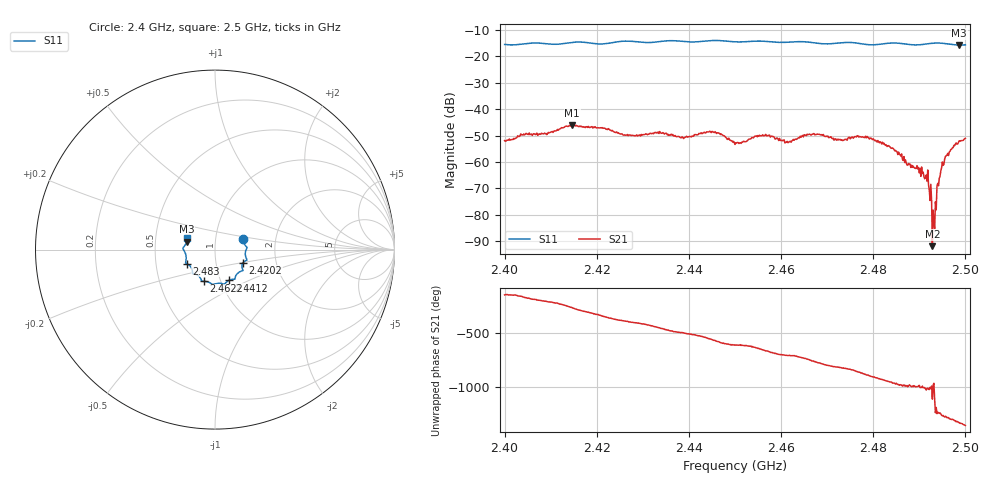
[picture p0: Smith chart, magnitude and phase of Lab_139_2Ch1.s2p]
# Hz S RI R 50
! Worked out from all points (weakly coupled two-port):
!   601 points, 2.4 GHz to 2.5 GHz, reference 50 ohm
!   highest |S21| = -46.00 dB at 2.4147 GHz (marker M1); lowest = -91.9 dB at 2.4928 GHz (marker M2)
!   lowest |S11| = -15.7 dB at 2.4987 GHz (marker M3), VSWR 1.39, Z = 36.3 + j3.29 ohm
!   |S11| at or under -10 dB: start of sweep to end of sweep
!   S12 and S22 are empty: the file has one direction only
!   S11 on the Smith chart (normalised r, x): 2.4 GHz: 1.36, +0.17; 2.4202 GHz: 1.35, -0.20; 2.4412 GHz: 1.09, -0.39; 2.4622 GHz: 0.83, -0.30; 2.483 GHz: 0.72, -0.12; 2.5 GHz: 0.73, +0.09
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2.4e9  0.1573 0.0602  -0.00223 -0.00123  0 0  0 0
2.414667e9  0.1764 -0.0529  1.31e-05 0.00501  0 0  0 0
2.416667e9  0.1771 -0.0588  0.00214 0.00424  0 0  0 0
2.420167e9  0.1567 -0.0725  0.00394 0.00204  0 0  0 0
2.433333e9  0.1133 -0.1517  -0.000157 -0.00371  0 0  0 0
2.441167e9  0.0759 -0.1721  -0.00309 -0.00118  0 0  0 0
2.4455e9  0.0524 -0.1934  -0.00309 0.00186  0 0  0 0
2.45e9  0.0267 -0.1871  -0.000496 0.00209  0 0  0 0
2.456167e9  -0.0152 -0.1933  0.0016 0.00269  0 0  0 0
2.462167e9  -0.0625 -0.1766  0.00235 0.000262  0 0  0 0
2.466667e9  -0.0775 -0.1664  0.00252 -0.00221  0 0  0 0
2.4785e9  -0.1286 -0.1086  -0.00282 -0.000496  0 0  0 0
2.483e9  -0.1586 -0.0782  -0.00138 0.0014  0 0  0 0
2.483333e9  -0.1602 -0.0772  -0.00131 0.00157  0 0  0 0
2.491333e9  -0.1707 -0.0086  0.000239 0.000453  0 0  0 0
2.492e9  -0.1741 -0.00324  0.000202 0.000306  0 0  0 0
2.492833e9  -0.1775 0.00213  2.12e-05 -1.41e-05  0 0  0 0
2.493333e9  -0.1787 0.0042  4.13e-05 -3.57e-05  0 0  0 0
2.494333e9  -0.1787 0.00858  -0.000477 -0.000123  0 0  0 0
2.495333e9  -0.1759 0.0133  -0.000877 0.000189  0 0  0 0
2.498667e9  -0.157 0.0442  -0.000888 0.00236  0 0  0 0
2.5e9  -0.1539 0.0622  0.000308 0.00279  0 0  0 0
